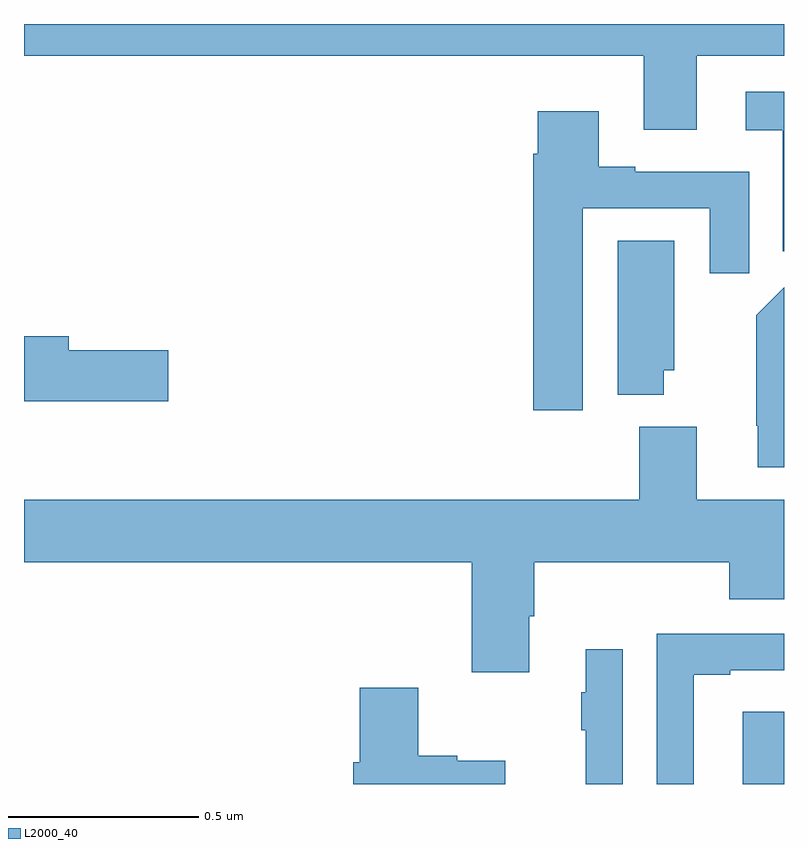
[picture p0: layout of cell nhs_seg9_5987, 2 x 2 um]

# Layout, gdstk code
import gdstk
lib = gdstk.Library(unit=1e-6, precision=1e-09)
def R(c, l, rs):  # rectangles x0, y0, x1, y1
    for r in rs: c.add(gdstk.rectangle(r[:2], r[2:], *l))
def P(c, l, *ps):  # polygons
    for p in ps: c.add(gdstk.Polygon(p, *l))
L2000_40 = (2000, 40)

nhs_seg9_5987 = lib.new_cell('nhs_seg9_5987')
R(nhs_seg9_5987, L2000_40, [(187.892,1198.5,188,1198.69)])
P(nhs_seg9_5987, L2000_40, [(187.771,1200.416),(188,1200.416),(188,1200.5),(186,1200.5),(186,1200.416),(187.631,1200.416),(187.631,1200.222),(187.771,1200.222)],
  [(188,1200.322),(187.899,1200.322),(187.899,1200.221),(187.997,1200.221),(187.997,1199.902),(188,1199.902)],
  [(187.471,1200.015),(187.805,1200.015),(187.805,1199.844),(187.909,1199.844),(187.909,1200.111),(187.609,1200.111),(187.609,1200.124),(187.513,1200.124),(187.513,1200.271),(187.352,1200.271),(187.352,1200.158),(187.34,1200.158),(187.34,1199.484),(187.471,1199.484)],
  [(187.684,1199.589),(187.711,1199.589),(187.711,1199.93),(187.562,1199.93),(187.562,1199.525),(187.684,1199.525)],
  [(188,1199.807),(187.927,1199.734),(187.927,1199.443),(187.931,1199.443),(187.931,1199.333),(188,1199.333)],
  [(186.379,1199.642),(186.118,1199.642),(186.118,1199.678),(186,1199.678),(186,1199.507),(186.379,1199.507)],
  [(187.33,1198.942),(187.343,1198.942),(187.343,1199.084),(187.856,1199.084),(187.856,1198.986),(188,1198.986),(188,1199.248),(187.771,1199.248),(187.771,1199.44),(187.619,1199.44),(187.619,1199.248),(186,1199.248),(186,1199.084),(187.178,1199.084),(187.178,1198.794),(187.33,1198.794)],
  [(187.762,1198.788),(187.858,1198.788),(187.858,1198.8),(188,1198.8),(188,1198.896),(187.665,1198.896),(187.665,1198.5),(187.762,1198.5)],
  [(187.575,1198.855),(187.478,1198.855),(187.478,1198.742),(187.467,1198.742),(187.467,1198.642),(187.478,1198.642),(187.478,1198.5),(187.575,1198.5)],
  [(187.267,1198.561),(187.14,1198.561),(187.14,1198.574),(187.038,1198.574),(187.038,1198.753),(186.884,1198.753),(186.884,1198.557),(186.866,1198.557),(186.866,1198.5),(187.267,1198.5)])

lib.write_gds('nhs_seg9_5987.gds')
